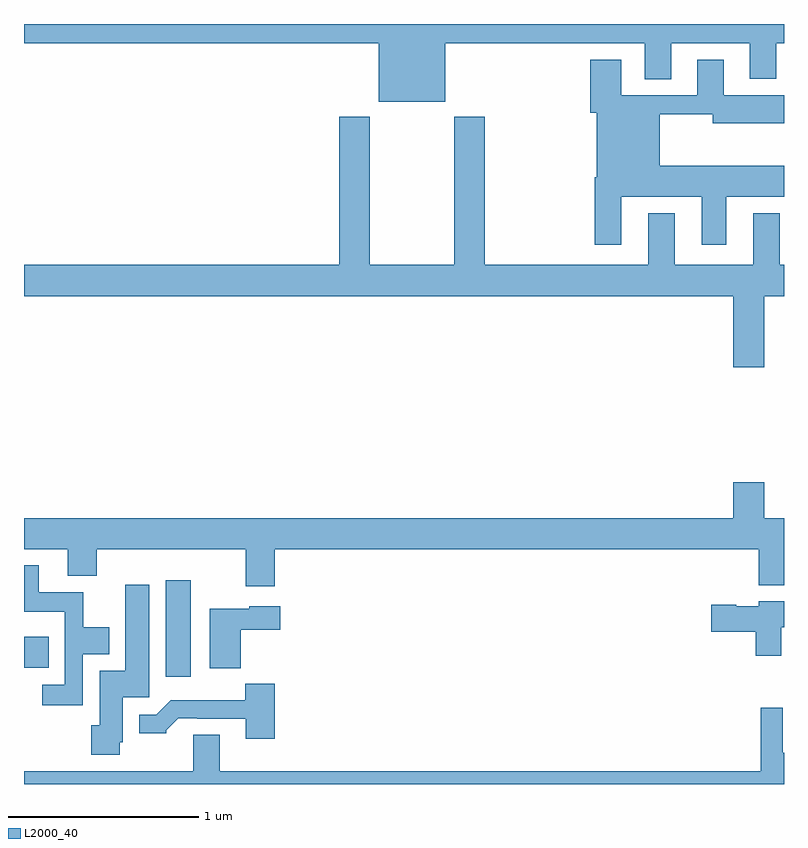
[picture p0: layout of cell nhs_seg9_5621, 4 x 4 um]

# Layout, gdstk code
import gdstk
lib = gdstk.Library(unit=1e-6, precision=1e-09)
def R(c, l, rs):  # rectangles x0, y0, x1, y1
    for r in rs: c.add(gdstk.rectangle(r[:2], r[2:], *l))
def P(c, l, *ps):  # polygons
    for p in ps: c.add(gdstk.Polygon(p, *l))
L2000_40 = (2000, 40)

nhs_seg9_5621 = lib.new_cell('nhs_seg9_5621')
R(nhs_seg9_5621, L2000_40, [(437.747,1213.065,437.878,1213.573), (437,1213.112,437.129,1213.276)])
P(nhs_seg9_5621, L2000_40, [(439.216,1216.4),(440.267,1216.4),(440.267,1216.21),(440.407,1216.21),(440.407,1216.4),(440.819,1216.4),(440.819,1216.211),(440.959,1216.211),(440.959,1216.4),(441,1216.4),(441,1216.5),(437,1216.5),(437,1216.4),(438.866,1216.4),(438.866,1216.091),(439.216,1216.091)],
  [(440.143,1215.59),(440.567,1215.59),(440.567,1215.339),(440.695,1215.339),(440.695,1215.59),(441,1215.59),(441,1215.754),(440.347,1215.754),(440.347,1216.024),(440.624,1216.024),(440.624,1215.977),(441,1215.977),(441,1216.125),(440.889,1216.125),(440.889,1216.126),(440.683,1216.126),(440.683,1216.312),(440.543,1216.312),(440.543,1216.125),(440.143,1216.125),(440.143,1216.312),(439.979,1216.312),(439.979,1216.032),(440.015,1216.032),(440.015,1215.694),(440.003,1215.694),(440.003,1215.339),(440.143,1215.339)],
  [(440.896,1215.068),(441,1215.068),(441,1215.232),(440.977,1215.232),(440.977,1215.505),(440.837,1215.505),(440.837,1215.232),(440.425,1215.232),(440.425,1215.505),(440.285,1215.505),(440.285,1215.232),(439.424,1215.232),(439.424,1216.012),(439.264,1216.012),(439.264,1215.232),(438.819,1215.232),(438.819,1216.012),(438.659,1216.012),(438.659,1215.232),(437,1215.232),(437,1215.068),(440.732,1215.068),(440.732,1214.694),(440.896,1214.694)],
  [(440.732,1213.9),(437,1213.9),(437,1213.736),(437.231,1213.736),(437.231,1213.595),(437.384,1213.595),(437.384,1213.736),(438.167,1213.736),(438.167,1213.542),(438.32,1213.542),(438.32,1213.736),(440.867,1213.736),(440.867,1213.547),(441,1213.547),(441,1213.9),(440.896,1213.9),(440.896,1214.089),(440.732,1214.089)],
  [(437.31,1213.184),(437.449,1213.184),(437.449,1213.324),(437.313,1213.324),(437.313,1213.51),(437.077,1213.51),(437.077,1213.651),(437,1213.651),(437,1213.406),(437.214,1213.406),(437.214,1213.023),(437.097,1213.023),(437.097,1212.915),(437.31,1212.915)],
  [(437.505,1212.72),(437.521,1212.72),(437.521,1212.957),(437.659,1212.957),(437.659,1213.549),(437.534,1213.549),(437.534,1213.096),(437.399,1213.096),(437.399,1212.81),(437.353,1212.81),(437.353,1212.654),(437.505,1212.654)],
  [(440.986,1213.324),(441,1213.324),(441,1213.462),(440.868,1213.462),(440.868,1213.435),(440.748,1213.435),(440.748,1213.443),(440.616,1213.443),(440.616,1213.301),(440.852,1213.301),(440.852,1213.176),(440.986,1213.176)],
  [(438.14,1213.313),(438.349,1213.313),(438.349,1213.435),(438.186,1213.435),(438.186,1213.423),(437.978,1213.423),(437.978,1213.109),(438.14,1213.109)],
  [(438.32,1213.027),(438.165,1213.027),(438.165,1212.94),(437.773,1212.94),(437.697,1212.864),(437.606,1212.864),(437.606,1212.767),(437.748,1212.767),(437.748,1212.782),(437.812,1212.846),(437.911,1212.846),(437.911,1212.843),(438.167,1212.843),(438.167,1212.738),(438.32,1212.738)],
  [(441,1212.664),(440.994,1212.664),(440.994,1212.901),(440.878,1212.901),(440.878,1212.568),(438.031,1212.568),(438.031,1212.758),(437.891,1212.758),(437.891,1212.568),(437,1212.568),(437,1212.5),(441,1212.5)])

lib.write_gds('nhs_seg9_5621.gds')
